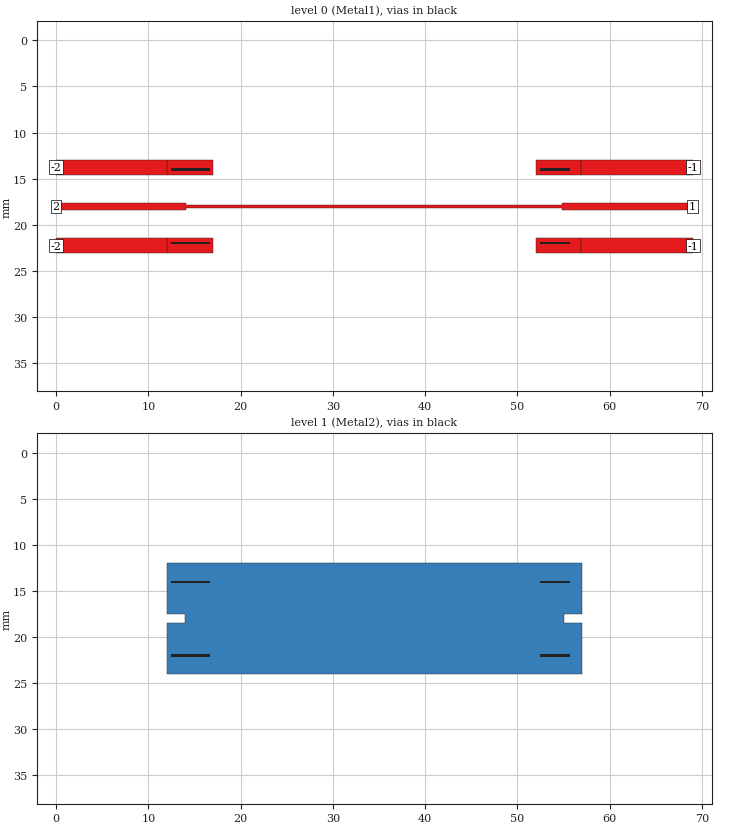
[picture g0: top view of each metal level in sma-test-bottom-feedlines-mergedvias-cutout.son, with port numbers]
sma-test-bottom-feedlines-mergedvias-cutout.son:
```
FTYP SONPROJ 18 ! Sonnet Project File
VER 17.56
HEADER
LIC antikernel2.1.50170 ac1f6b6437c5 havequick azonenberg Level3Gold
DAT 04/11/2021 05:01:13
BUILT_BY_CREATED dxf 17.52.2 05/01/2020 05:35:06
BUILT_BY_SAVED sonnet 17.56
MDATE 04/11/2021 04:59:34
HDATE 04/11/2021 04:59:34
ANN Created by dxfgeo, Sonnet Software Inc.
ANN 
ANN _gk:
ANN 
ANN removed minus Co-Cal ports on PCB groundpads. They reference internal groundplane, while plus ports reference the analysis box
ANN enlarged the box from 45.6 x 15 mm to 49 x 16 mm which creates  a 2 mm gap around the circuit
ANN moved whole structure @-0.125,0 to align with 0.25 mm grid
ANN added 2 mm feedlines to the signal trace and groundpads
ANN push/pull port configuration
ANN 
ANN _gk3:
ANN 
ANN trying to decrease interaction between circuit and box sidewalls and place in open space
ANN increased box to 69 x 36 mm and recentered geometry
ANN increased reference planes to 12 mm
ANN 
ANN 
ANN 
ANN 
ANN 
ANN 
END HEADER
DIM
ANG DEG
CAP PF
CON /OH
FREQ GHZ
IND NH
LNG MM
RES OH
END DIM
CONTROL
VARSWP
OPTIONS  -dj
SPEED 1
CACHE_ABS 1
Q_ACC N
END CONTROL
GEO
SYM
DRP1 LEFT FIX 12
DRP1 RIGHT FIX 12
TMET "Free Space" 0 FREESPACE 376.7303136 0 0 0
BMET "Free Space" 0 FREESPACE 376.7303136 0 0 0
MET "Copper 1oz thick" 2 TMM 58000000 0.5 0.035 2
MET "Nickel " 3 TMM 14300000 0.5 3.5e-05 2
MET "Copper 0.5oz" 1 NOR 58000000 0.5 0.0175 
MET "Unknown_metal" 1 NOR INF 0.5 0 
MET "Unknown_metal" 1 VOL INF 0
BRI "Alumina (96%)" 0 9.4 0.0004 0 
BRI "Alumina (99.5%)" 0 9.9 0.0001 0 
BRI "Aluminum Nitride" 0 8.6 0.0003 0 
BRI "Arlon 25FR" 0 3.58 0.0035 0 
BRI "Arlon 25N" 0 3.38 0.0025 0 
BRI "Arlon AD5" 0 5.1 0.003 0 
BRI "Arlon AD10" 0 10.2 0.005 0 
BRI "Arlon AD250" 0 2.5 0.0018 0 
BRI "Arlon AD255A" 0 2.55 0.0015 0 
BRI "Arlon AD260A" 0 2.6 0.0018 0 
BRI "Arlon AD270" 0 2.7 0.0023 0 
BRI "Arlon AD300A" 0 3 0.002 0 
BRI "Arlon AD320A" 0 3.2 0.0032 0 
BRI "Arlon AD350A" 0 3.5 0.003 0 
BRI "Arlon AD410" 0 4.1 0.003 0 
BRI "Arlon AD430" 0 4.3 0.003 0 
BRI "Arlon AD450" 0 4.5 0.0035 0 
BRI "Arlon AD600" 0 6.15 0.003 0 
BRI "Arlon AD1000" 0 10.2 0.0023 0 
BRI "Arlon AR1000" 0 9.8 0.003 0 
BRI "Arlon CLTE" 0 2.96 0.0023 0 
BRI "Arlon CLTE-AT" 0 3 0.0013 0 
BRI "Arlon CLTE-P" 0 2.94 0.0025 0 
BRI "Arlon CLTE-XT" 0 2.94 0.0012 0 
BRI "Arlon Cu 217LX" 0 2.17 0.0009 0 
BRI "Arlon Cu 233LX" 0 2.33 0.0013 0 
BRI "Arlon Cu 250GT" 0 2.5 0.001 0 
BRI "Arlon Cu 250GX" 0 2.5 0.0018 0 
BRI "Arlon Cu 6250" 0 2.32 0.0013 0 
BRI "Arlon Cu 6700" 0 2.35 0.0025 0 
BRI "Arlon Di 522" 0 2.5 0.001 0 
BRI "Arlon Di 527" 0 2.5 0.0018 0 
BRI "Arlon Di 870" 0 2.33 0.0013 0 
BRI "Arlon Di 880" 0 2.17 0.0009 0 
BRI "Arlon Iso 917" 0 2.17 0.0013 0 
BRI "Arlon Iso 933" 0 2.33 0.0016 0 
BRI "Arlon Multi HF" 0 3.7 0.004 0 
BRI "Arlon TC350" 0 3.5 0.002 0 
BRI "Arlon TC600" 0 6.15 0.002 0 
BRI "Beryllia (99.5%)" 0 6.5 0.0004 0 
BRI "CEM-1" 0 4.5 0.02 0 
BRI "CEM-3" 0 4.5 0.02 0 
BRI "Dupont 9K7" 0 7.1 0.0012 0 
BRI "Dupont 943" 0 7.4 0.002 0 
BRI "Dupont 951" 0 7.8 0.006 0 
BRI "Dupont FEP" 0 2 0.0005 0 
BRI "Dupont Vacrel" 0 3.8 0.011 0 
BRI "ESL 41010" 0 7.5 0.005 0 
BRI "ESL 41020" 0 7.25 0.005 0 
BRI "ESL 41050" 0 13.5 0.002 0 
BRI "ESL 41060" 0 16.5 0.002 0 
BRI "ESL 41110" 0 4.5 0.004 0 
BRI "Ferro A6M" 0 5.9 0.002 0 
BRI "Ferro A6S" 0 5.9 0.002 0 
BRI "Ferro L8" 0 7.3 0.0018 0 
BRI "FR-4" 0 4.4 0.02 0 
BRI "G-10" 0 4.8 0.025 0 
BRI "Gallium Arsenide" 0 12.9 0.006 0 
BRI "Gallium Nitride" 0 9.7 0 0 
BRI "Glass (Pyrex)" 0 4.82 0.0054 0 
BRI "Heraeus HL2000" 0 7.3 0.0026 0 
BRI "Isola 370HR" 0 4.04 0.021 0 
BRI "Isola FR408" 0 3.77 0.0116 0 
BRI "Isola FR408HR" 0 3.68 0.0092 0 
BRI "Isola Getek" 0 3.6 0.01 0 
BRI "Isola GI-180" 0 3.7 0.013 0 
BRI "Isola IS415" 0 3.82 0.0125 0 
BRI "Isola IS620i" 0 3.58 0.006 0 
BRI "Isola IS680-280" 0 2.8 0.0025 0 
BRI "Isola IS680-300" 0 3 0.003 0 
BRI "Isola IS680-320" 0 3.2 0.003 0 
BRI "Isola IS680-333" 0 3.33 0.003 0 
BRI "Isola IS680-338" 0 3.38 0.0032 0 
BRI "Isola IS680-345" 0 3.45 0.0036 0 
BRI "Kerafol CT800" 0 5.3 0.008 0 
BRI "Nelco MW9350" 0 3.7 0.004 0 
BRI "Nelco N4000-12" 0 3.7 0.008 0 
BRI "Nelco N4000-13" 0 3.7 0.009 0 
BRI "Nelco N4000-13SI" 0 3.2 0.007 0 
BRI "Nelco N4000-13EP" 0 3.7 0.008 0 
BRI "Nelco N4350-13RF" 0 3.5 0.0065 0 
BRI "Nelco N4380-13RF" 0 3.8 0.007 0 
BRI "Nelco N9300-13RF" 0 3 0.004 0 
BRI "Nelco N9320-13RF" 0 3.2 0.0045 0 
BRI "Nelco N9338-13RF" 0 3.38 0.0046 0 
BRI "Nelco N9350-13RF" 0 3.48 0.0055 0 
BRI "Nelco NH9294" 0 2.94 0.0022 0 
BRI "Nelco NH9300" 0 3 0.0023 0 
BRI "Nelco NH9320" 0 3.2 0.0024 0 
BRI "Nelco NH9338" 0 3.38 0.0025 0 
BRI "Nelco NH9348" 0 3.48 0.003 0 
BRI "Nelco NH9350" 0 3.5 0.003 0 
BRI "Nelco NH9410" 0 4.1 0.003 0 
BRI "Nelco NH9450" 0 4.5 0.003 0 
BRI "Nelco NX9240" 0 2.4 0.0016 0 
BRI "Nelco NX9245" 0 2.45 0.0016 0 
BRI "Nelco NX9250" 0 2.5 0.0017 0 
BRI "Nelco NX9255" 0 2.55 0.0018 0 
BRI "Nelco NX9260" 0 2.6 0.0019 0 
BRI "Nelco NY9208" 0 2.08 0.0006 0 
BRI "Nelco NY9217" 0 2.17 0.0008 0 
BRI "Nelco NY9220" 0 2.2 0.0009 0 
BRI "Nelco NY9233" 0 2.33 0.0011 0 
BRI "PET" 0 3.37 0.0208 0 
BRI "Polyimide" 0 3.5 0.003 0 
BRI "Quartz (Fused)" 0 3.78 0.0001 0 
BRI "Rogers 3001" 0 2.28 0.003 0 
BRI "Rogers RO2808" 0 7.6 0.0015 0 
BRI "Rogers RO3003" 0 3 0.0013 0 
BRI "Rogers RO3006" 0 6.5 0.002 0 
BRI "Rogers RO3010" 0 11.2 0.0022 0 
BRI "Rogers RO3035" 0 3.6 0.0018 0 
BRI "Rogers RO3203" 0 3.02 0.0016 0 
BRI "Rogers RO3206" 0 6.6 0.0027 0 
BRI "Rogers RO3210" 0 10.8 0.0027 0 
BRI "Rogers RO3730" 0 3 0.0016 0 
BRI "Rogers RO4003C" 0 3.55 0.0029 0 
BRI "Rogers RO4533" 0 3.45 0.0029 0 
BRI "Rogers RO4534" 0 3.4 0.003 0 
BRI "Rogers RO4350B" 0 3.66 0.0037 0 
BRI "Rogers RO4350BTX" 0 3.66 0.0034 0 
BRI "Rogers RO4360" 0 6.15 0.0038 0 
BRI "Rogers RO4450B-3.6" 0 3.3 0.0043 0 
BRI "Rogers RO4450B-4" 0 3.54 0.004 0 
BRI "Rogers RO4450F" 0 3.52 0.0041 0 
BRI "Rogers RO4730" 0 3 0.0033 0 
BRI "Rogers RT5870" 0 2.33 0.0012 0 
BRI "Rogers RT5880" 0 2.2 0.0009 0 
BRI "Rogers RT5880LZ" 0 1.96 0.0019 0 
BRI "Rogers RT6002" 0 2.94 0.0012 0 
BRI "Rogers RT6006" 0 6.15 0.0027 0 
BRI "Rogers RT6010LM" 0 10.9 0.0023 0 
BRI "Rogers RT6035HTC" 0 3.6 0.0013 0 
BRI "Rogers RT6202" 0 2.94 0.0015 0 
BRI "Rogers RT6202PR" 0 2.95 0.0015 0 
BRI "Rogers Syron7000" 0 3.4 0.0045 0 
BRI "Rogers Syron7100-2" 0 3.61 0.006 0 
BRI "Rogers Syron7100-4" 0 3.39 0.005 0 
BRI "Rogers Theta" 0 4.01 0.0118 0 
BRI "Rogers TMM 3" 0 3.39 0.002 0 
BRI "Rogers TMM 4" 0 4.5 0.002 0 
BRI "Rogers TMM 6" 0 6 0.0023 0 
BRI "Rogers TMM 10" 0 9.56 0.0022 0 
BRI "Rogers TMM 10i" 0 9.96 0.002 0 
BRI "Rogers UL2000" 0 2.5 0.0019 0 
BRI "Rogers UL3850" 0 3.05 0.0025 0 
BRI "Rogers UL3908" 0 2.9 0.0025 0 
BRI "Rogers XT8000" 0 3.34 0.0035 0 
BRI "Rogers XT8100-2" 0 3.54 0.0049 0 
BRI "Rogers XT8100-4" 0 3.32 0.0038 0 
BRI "Silicon (intrinsic)" 0 11.9 0.004 0.00044 
BRI "Silicon Dioxide" 0 3.9 0 0 
BRI "Silicon Nitride" 0 7.5 0 0 
BRI "Taconic CER-10" 0 10 0.0035 0 
BRI "Taconic FastFilm" 0 2.7 0.0012 0 
BRI "Taconic Fastrise-DS" 0 2.96 0.0018 0 
BRI "Taconic Fastrise27" 0 2.7 0.0014 0 
BRI "Taconic Fastrise77" 0 7.7 0.0034 0 
BRI "Taconic FEP" 0 2 0.0003 0 
BRI "Taconic RF-30" 0 3 0.0014 0 
BRI "Taconic RF-35" 0 3.5 0.0018 0 
BRI "Taconic RF-35A2" 0 3.5 0.0011 0 
BRI "Taconic RF-35P" 0 3.5 0.0025 0 
BRI "Taconic RF-41" 0 4.1 0.0038 0 
BRI "Taconic RF-43" 0 4.3 0.0033 0 
BRI "Taconic RF-45" 0 4.5 0.0037 0 
BRI "Taconic RF-60A" 0 6.15 0.0038 0 
BRI "Taconic RF-301" 0 2.97 0.0012 0 
BRI "Taconic TacBond HT" 0 2.35 0.0025 0 
BRI "Taconic TLA-6" 0 2.62 0.0012 0 
BRI "Taconic TLC-27" 0 2.75 0.003 0 
BRI "Taconic TLC-30" 0 3 0.003 0 
BRI "Taconic TLC-32" 0 3.2 0.003 0 
BRI "Taconic TLE-95" 0 2.95 0.0028 0 
BRI "Taconic TLF-34" 0 3.4 0.002 0 
BRI "Taconic TLF-35" 0 3.5 0.002 0 
BRI "Taconic TLP-3" 0 2.33 0.0009 0 
BRI "Taconic TLP-5" 0 2.2 0.0009 0 
BRI "Taconic TLP-5A" 0 2.17 0.0009 0 
BRI "Taconic TLT-0" 0 2.45 0.0006 0 
BRI "Taconic TLT-9" 0 2.5 0.0006 0 
BRI "Taconic TLT-8" 0 2.55 0.0006 0 
BRI "Taconic TLT-7" 0 2.6 0.0006 0 
BRI "Taconic TLT-6" 0 2.65 0.0006 0 
BRI "Taconic TLX-0" 0 2.45 0.0019 0 
BRI "Taconic TLX-9" 0 2.5 0.0019 0 
BRI "Taconic TLX-8" 0 2.55 0.0019 0 
BRI "Taconic TLX-7" 0 2.6 0.0019 0 
BRI "Taconic TLX-6" 0 2.65 0.0019 0 
BRI "Taconic TLY-3" 0 2.33 0.0009 0 
BRI "Taconic TLY-3F" 0 2.33 0.0009 0 
BRI "Taconic TLY-5" 0 2.2 0.0009 0 
BRI "Taconic TLY-5-L" 0 2.2 0.0009 0 
BRI "Taconic TLY-5A" 0 2.17 0.0009 0 
BRI "Taconic TLY-5A-L" 0 2.17 0.0009 0 
BRI "Taconic TPG-30" 0 3 0.0038 0 
BRI "Taconic TPG-32" 0 3.2 0.005 0 
BRI "Taconic TPG-35" 0 3.5 0.005 0 
BRI "Taconic TRF-41" 0 4.1 0.0035 0 
BRI "Taconic TRF-43" 0 4.3 0.0035 0 
BRI "Taconic TRF-45" 0 4.5 0.0035 0 
BRI "Taconic TSM-DS" 0 2.85 0.001 0 
BRI "Taconic TSM-DS3" 0 3 0.0011 0 
BRI "Taconic TSM-26" 0 2.6 0.0014 0 
BRI "Taconic TSM-29" 0 2.94 0.0013 0 
BRI "Taconic TSM-30" 0 3 0.0013 0 
BRI "Teflon (PTFE)" 0 2.08 0.0004 0 
BOX 3 69 36 5520 2880 20 0
      10 1 1 0 0 0 0 "Air"
      0.166 3.6 1 0.0092 0 0 0 "Isola FR408HR"
      1.4 3.6 1 0.0092 0 0 0 "Isola FR408HR"
      10 1 1 0 0 0 0 "Air"
TECHLAY METAL Metal1 BLACK -2 0 
0 0 0 N 1416 1 1 100 100 0 0 0 Y
END
END
TECHLAY METAL Metal2 BLACK -3 0 
1 0 2 N 1425 1 1 100 100 0 0 0 Y
END
END
TECHLAY VIA Via1 <UNSPECIFIED> -4 0 
VIA POLYGON
1 0 -1 N 1502 1 1 100 100 0 0 0 Y
TOLEVEL 0 RING NOCOVERS
END
END
VALVAR BOTLEN LNG 2 "Dim. Param."
VALVAR TOPLEN LNG 3 "Dim. Param."
VALVAR TRACE LNG 0.35 "Dim. Param."
VALVAR XCUT LNG 2 "Dim. Param."
VALVAR XCUT2 LNG "XCUT" "Dim. Param."
VALVAR YCUT LNG 1 "Dim. Param."
VALVAR YCUT2 LNG "YCUT" "Dim. Param."
VALVAR PIN LNG 0.75 "Dim. Param."
VALVAR PIN2 LNG "PIN" "Dim. Param."
DIM STD YDIR 1
POS -1.48380781 8.114546708
NOM 11.95
REF1 POLY 692 1
5
REF2 POLY 692 1
10
END
LORGN 0 36 U 
POR1 BOX
POLY 3 1
6
1 50 0 0 0 69 18 
POR1 BOX
POLY 3 1
0
2 50 0 0 0 0 18 
POR1 BOX
POLY 938 1
3
-2 50 0 0 0 0 13.75 
POR1 BOX
POLY 939 1
3
-2 50 0 0 0 0 22.25 
POR1 BOX
POLY 940 1
3
-1 50 0 0 0 69 22.25 
POR1 BOX
POLY 941 1
3
-1 50 0 0 0 69 13.75 
NUM 14
0 5 0 N 5 1 1 100 100 0 0 0 Y
TLAYNAM Metal1 INH
52.025 14.55
52.025 12.95
56.925 12.95
56.925 14.55
52.025 14.55
END
0 13 0 N 3 1 1 100 100 0 0 0 Y
TLAYNAM Metal1 INH
0 18.375
0 17.625
14.05 17.625
14.05 17.825
54.875 17.825
54.875 17.625
69 17.625
69 18.375
54.875 18.375
54.875 18.175
14.05 18.175
14.05 18.375
0 18.375
END
0 5 0 N 4 1 1 100 100 0 0 0 Y
TLAYNAM Metal1 INH
12.05 14.55
12.05 12.95
16.95 12.95
16.95 14.55
12.05 14.55
END
0 5 0 N 2 1 1 100 100 0 0 0 Y
TLAYNAM Metal1 INH
52.025 23.05
52.025 21.45
56.925 21.45
56.925 23.05
52.025 23.05
END
0 5 0 N 1 1 1 100 100 0 0 0 Y
TLAYNAM Metal1 INH
12.05 23.05
12.05 21.45
16.95 21.45
16.95 23.05
12.05 23.05
END
0 5 0 N 938 1 1 100 100 0 0 0 Y
TLAYNAM Metal1 INH
0 12.95
12.05 12.95
12.05 14.55
0 14.55
0 12.95
END
0 5 0 N 939 1 1 100 100 0 0 0 Y
TLAYNAM Metal1 INH
0 23.05
12.05 23.05
12.05 21.45
0 21.45
0 23.05
END
0 5 0 N 940 1 1 100 100 0 0 0 Y
TLAYNAM Metal1 INH
69 23.05
56.925 23.05
56.925 21.45
69 21.45
69 23.05
END
0 5 0 N 941 1 1 100 100 0 0 0 Y
TLAYNAM Metal1 INH
69 12.95
56.925 12.95
56.925 14.55
69 14.55
69 12.95
END
1 13 2 N 692 1 1 100 100 0 0 0 Y
TLAYNAM Metal2 INH
57 18.5
55 18.5
55 17.5
57 17.5
57 12.025
12 12.025
12 17.5
14 17.5
14 18.5
12 18.5
12 23.975
57 23.975
57 18.5
END
VIA POLYGON
1 5 -1 N 1191 1 1 100 100 0 0 0 Y
TOLEVEL 0 RING NOCOVERS
TLAYNAM Via1 INH
52.4 21.875
55.65 21.875
55.65 22.125
52.4 22.125
52.4 21.875
END
VIA POLYGON
1 5 -1 N 1192 1 1 100 100 0 0 0 Y
TOLEVEL 0 RING NOCOVERS
TLAYNAM Via1 INH
12.4 21.875
16.65 21.875
16.65 22.125
12.4 22.125
12.4 21.875
END
VIA POLYGON
1 5 -1 N 1193 1 1 100 100 0 0 0 Y
TOLEVEL 0 RING NOCOVERS
TLAYNAM Via1 INH
12.4 13.875
16.65 13.875
16.65 14.125
12.4 14.125
12.4 13.875
END
VIA POLYGON
1 5 -1 N 1190 1 1 100 100 0 0 0 Y
TOLEVEL 0 RING NOCOVERS
TLAYNAM Via1 INH
52.4 13.875
55.65 13.875
55.65 14.125
52.4 14.125
52.4 13.875
END
END GEO
OPT
MAX 100
END OPT
VARSWP
SWPVARS ON
ENABLED Y
FREQ Y AY ABS_ENTRY 0.01 16.0 -1 300 
VAR TRACE N 0.4 0.4 UNDEF
VAR XCUT N 1.0 3.0 1.0
VAR YCUT Y 0.0 1.0 0.25
VAR PIN N 0.5 1.5 0.5
END
END VARSWP
3DOPTIONS
GLOBAL 1
ALL 4 1
END 3DOPTIONS
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```
